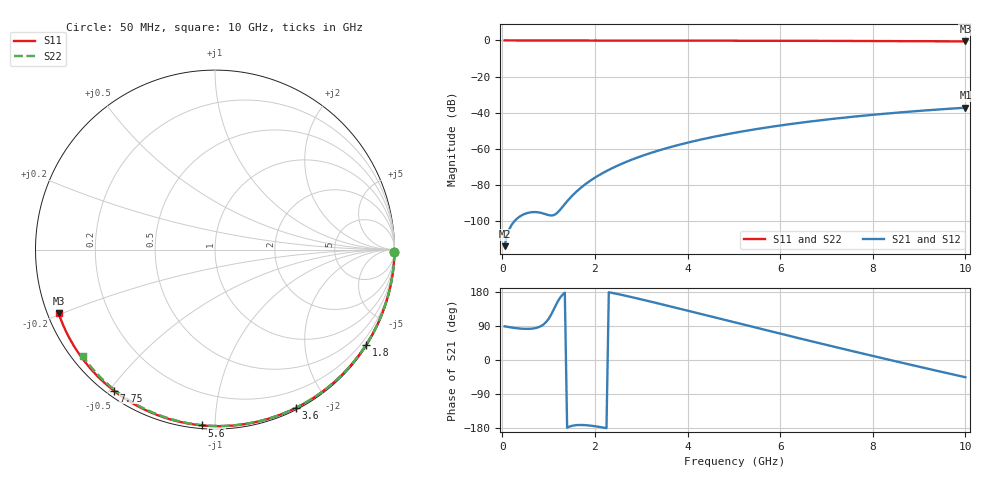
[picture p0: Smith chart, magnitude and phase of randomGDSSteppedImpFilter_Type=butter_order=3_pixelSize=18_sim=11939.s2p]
! freq	dB(S11)	phase(S11)	dB(S12)	phase(S12)
!  dB(S21)	phase(S21)	dB(S22)	phase(S22)
!S-par simulation data
#  GHz  S  DB  R 50
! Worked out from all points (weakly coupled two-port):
!   200 points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, 50 MHz to 10 GHz, reference 50 ohm
!   highest |S21| = -37.27 dB at 10 GHz (marker M1); lowest = -114.0 dB at 50 MHz (marker M2)
!   lowest |S11| = -0.5 dB at 10 GHz (marker M3), VSWR 32.76, Z = 1.58 - j9.77 ohm
!   |S11| at or under -10 dB: nowhere
!   |S22| runs from -0.5 to 0.0 dB; largest |S21 - S12| = 0
!   S11 on the Smith chart (normalised r, x): 50 MHz: open; 1.8 GHz: 0.03, -3.45; 3.6 GHz: 0.02, -1.63; 5.6 GHz: 0.02, -0.93; 7.75 GHz: 0.02, -0.51; 10 GHz: 0.03, -0.20
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0.05  -0.00 -0.9  -114.01 88.9  -114.01 88.9  -0.00 -0.8
0.45  -0.01 -8.2  -96.52 82.4  -96.52 82.4  -0.01 -7.3
0.9  -0.02 -16.3  -95.99 94.8  -95.99 94.8  -0.02 -14.6
1.3  -0.03 -23.5  -92.25 172.1  -92.25 172.1  -0.03 -21.0
1.75  -0.04 -31.4  -80.53 -171.6  -80.53 -171.6  -0.04 -28.2
1.8  -0.04 -32.3  -79.55 -171.9  -79.55 -171.9  -0.04 -28.9
1.95  -0.04 -34.9  -76.86 -173.9  -76.86 -173.9  -0.04 -31.3
2.1  -0.05 -37.5  -74.49 -176.6  -74.49 -176.6  -0.04 -33.6
2.3  -0.05 -41.0  -71.70 178.9  -71.70 178.9  -0.05 -36.8
2.5  -0.06 -44.5  -69.25 173.9  -69.25 173.9  -0.05 -39.9
2.9  -0.07 -51.3  -65.06 162.9  -65.06 162.9  -0.06 -46.0
3.4  -0.08 -59.6  -60.80 148.3  -60.80 148.3  -0.07 -53.5
3.6  -0.08 -62.9  -59.31 142.3  -59.31 142.3  -0.08 -56.5
4.3  -0.11 -74.2  -54.86 121.1  -54.86 121.1  -0.09 -66.7
5.05  -0.13 -86.0  -51.02 98.3  -51.02 98.3  -0.12 -77.4
5.6  -0.16 -94.3  -48.66 81.6  -48.66 81.6  -0.14 -84.9
6.15  -0.18 -102.5  -46.59 65.1  -46.59 65.1  -0.16 -92.3
6.7  -0.22 -110.6  -44.76 48.7  -44.76 48.7  -0.19 -99.6
7.75  -0.29 -125.7  -41.82 17.9  -41.82 17.9  -0.26 -113.1
8.35  -0.34 -134.2  -40.40 0.7  -40.40 0.7  -0.31 -120.6
9.2  -0.43 -146.3  -38.66 -23.3  -38.66 -23.3  -0.39 -131.2
10  -0.53 -157.9  -37.27 -45.5  -37.27 -45.5  -0.48 -141.1
